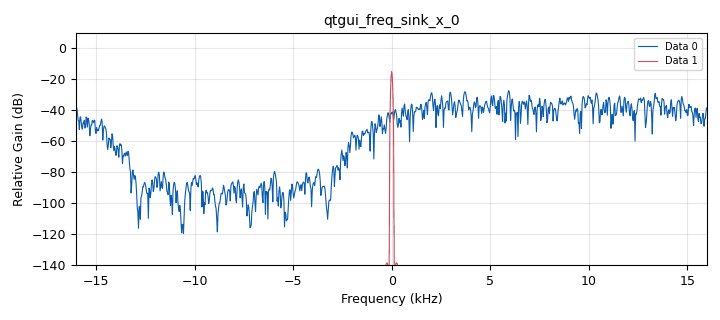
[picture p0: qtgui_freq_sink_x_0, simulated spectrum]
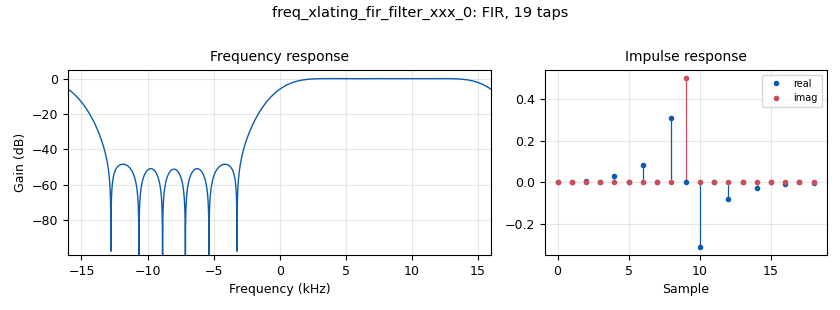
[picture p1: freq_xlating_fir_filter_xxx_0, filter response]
options:
  parameters:
    generate_options: qt_gui
    id: low_pass_filter
    output_language: python
    title: Not titled yet
  states: {}

blocks:
- name: bandPassTaps
  id: variable
  parameters:
    value: lowPassTaps*frequencyShift
  states: {}
- name: frequency
  id: variable_qtgui_range
  parameters:
    start: '-samp_rate/2'
    step: '1'
    stop: samp_rate/2
    value: '0'
  states: {}
- name: frequencyShift
  id: variable
  parameters:
    value: np.exp(2j * np.pi * 0.25 * n)
  states: {}
- name: lowPassTaps
  id: variable_low_pass_filter_taps
  parameters:
    cutoff_freq: samp_rate/4
    gain: '1.0'
    samp_rate: samp_rate
    width: samp_rate/8
    win: window.WIN_HAMMING
  states: {}
- name: n
  id: variable
  parameters:
    value: np.arange(0, len(lowPassTaps))
  states: {}
- name: samp_rate
  id: variable
  parameters:
    value: '32000'
  states: {}
- name: analog_noise_source_x_0
  id: analog_noise_source_x
  parameters:
    amp: '1'
    noise_type: analog.GR_GAUSSIAN
    seed: '0'
    type: float
  states: {}
- name: analog_sig_source_x_0
  id: analog_sig_source_x
  parameters:
    amp: '1'
    freq: frequency
    offset: '0'
    phase: '0'
    samp_rate: samp_rate
    type: float
    waveform: analog.GR_COS_WAVE
  states: {}
- name: blocks_throttle2_0
  id: blocks_throttle2
  parameters:
    samples_per_second: samp_rate
    type: complex
  states: {}
- name: blocks_throttle2_0_0
  id: blocks_throttle2
  parameters:
    samples_per_second: samp_rate
    type: complex
  states: {}
- name: freq_xlating_fir_filter_xxx_0
  id: freq_xlating_fir_filter_xxx
  parameters:
    center_freq: '0'
    decim: '1'
    samp_rate: samp_rate
    taps: bandPassTaps
    type: fcc
  states: {}
- name: freq_xlating_fir_filter_xxx_0_0
  id: freq_xlating_fir_filter_xxx
  parameters:
    center_freq: '0'
    decim: '1'
    samp_rate: samp_rate
    taps: bandPassTaps
    type: fcc
  states: {}
- name: import_0
  id: import
  parameters:
    imports: import numpy as np
  states: {}
- name: qtgui_freq_sink_x_0
  id: qtgui_freq_sink_x
  parameters:
    bw: samp_rate
    fc: '0'
    fftsize: '1024'
    nconnections: '2'
    type: complex
  states: {}

connections:
- [analog_noise_source_x_0, '0', freq_xlating_fir_filter_xxx_0, '0']
- [analog_sig_source_x_0, '0', freq_xlating_fir_filter_xxx_0_0, '0']
- [blocks_throttle2_0, '0', qtgui_freq_sink_x_0, '0']
- [blocks_throttle2_0_0, '0', qtgui_freq_sink_x_0, '1']
- [freq_xlating_fir_filter_xxx_0, '0', blocks_throttle2_0, '0']
- [freq_xlating_fir_filter_xxx_0_0, '0', blocks_throttle2_0_0, '0']

metadata:
  file_format: 1
  grc_version: 3.10.9.2
